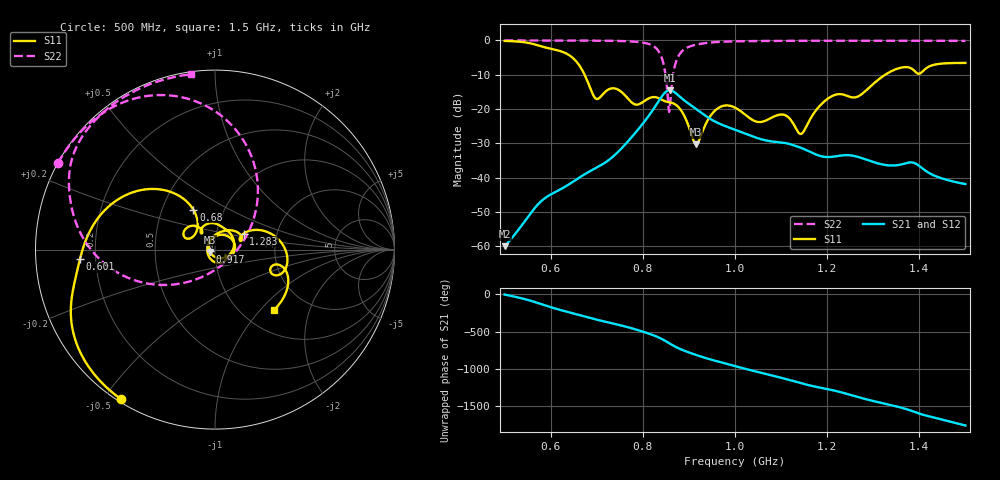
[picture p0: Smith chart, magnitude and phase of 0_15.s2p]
! TOUCHSTONE file generated by CST MICROWAVE STUDIO
! Date and time: Sat Oct 24 11:12:58 2020
! Project name: Scenario_1_Circular_Tissue_in_Line.cst
! Parameters = {L_HA=400; MT=2.54; Rad_Dielectric=30; Rad_Lower=7.3; Rad_Upper=30; a_HA=580; a_WG=246; b_HA=500; b_WG=121; c_HA=0; c_WG=187; d_feed=85; dx1=415.48; h_feed=15; h_lower=18; h_upper=40}
! Header version: 2018
! Port assignment regex: !\s*Touchstone port\s*([0-9]+)\s*=\s*(CST MWS port|CST DS port)\s*([0-9]+|Zmin|Zmax)\s*\(\"(.*)\"\)(\s*mode\s*([0-9]+))?.*
! Touchstone port assignment:
! Touchstone port 1 = CST MWS port 1 ("")
! Touchstone port 2 = CST MWS port 2 ("")
# GHz S DB R 50
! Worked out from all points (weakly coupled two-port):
!   1003 points, 500 MHz to 1.5 GHz, reference 50 ohm
!   highest |S21| = -14.51 dB at 858 MHz (marker M1); lowest = -59.9 dB at 500 MHz (marker M2)
!   lowest |S11| = -30.3 dB at 916 MHz (marker M3), VSWR 1.06, Z = 47.3 - j1.29 ohm
!   |S11| at or under -10 dB: 673.6 MHz to 1.326 GHz (652.2 MHz wide, 65.2 % of centre)
!   |S22| runs from -20.8 to 0.0 dB; largest |S21 - S12| = 2.2e-05
!   S11 on the Smith chart (normalised r, x): 500 MHz: 0.01, -0.55; 601 MHz: 0.14, -0.03; 680 MHz: 0.72, +0.34; 917 MHz: 0.94, -0.02; 1.283 GHz: 1.35, +0.25; 1.5 GHz: 1.37, -1.19
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0.5  -0.14 -122.2  -59.93 -5.3  -59.93 -5.3  -0.01 151.1
0.601  -2.45 -175.9  -44.81 -176.3  -44.81 -176.3  -0.02 144.0
0.667  -8.30 125.7  -39.53 72.6  -39.53 72.6  -0.04 138.3
0.68  -11.94 118.4  -38.49 50.8  -38.49 50.8  -0.05 137.0
0.699  -17.04 140.7  -37.12 20.3  -37.12 20.3  -0.07 134.9
0.738  -13.96 145.0  -33.52 -36.2  -33.52 -36.2  -0.13 129.6
0.783  -18.64 127.4  -27.03 -108.8  -27.03 -108.8  -0.37 119.4
0.834  -16.80 88.6  -17.74 142.0  -17.74 142.0  -3.11 82.3
0.847  -17.65 70.3  -15.35 100.8  -15.35 100.8  -8.19 52.2
0.858  -18.03 53.7  -14.51 60.1  -14.51 60.1  -20.27 -71.6
0.877  -19.37 11.1  -16.00 -2.6  -16.00 -2.6  -4.62 -169.6
0.916  -30.31 -153.6  -20.01 -94.0  -20.01 -94.0  -1.23 159.0
0.917  -30.26 -160.8  -20.10 -96.1  -20.10 -96.1  -1.20 158.6
0.957  -20.39 58.6  -23.66 -170.1  -23.66 -170.1  -0.50 147.5
1  -19.58 -10.7  -26.03 118.2  -26.03 118.2  -0.27 140.2
1.049  -23.73 -29.6  -28.47 40.3  -28.47 40.3  -0.17 134.4
1.108  -21.73 -62.4  -29.85 -51.0  -29.85 -51.0  -0.12 129.0
1.142  -27.24 -178.5  -31.23 -108.1  -31.23 -108.1  -0.10 126.1
1.167  -22.07 92.0  -32.71 -146.6  -32.71 -146.6  -0.09 124.1
1.283  -14.75 29.3  -34.65 37.7  -34.65 37.7  -0.08 115.3
1.334  -9.34 12.7  -36.40 -37.3  -36.40 -37.3  -0.08 111.4
1.5  -6.56 -46.1  -41.83 44.9  -41.86 44.9  -0.13 97.8
